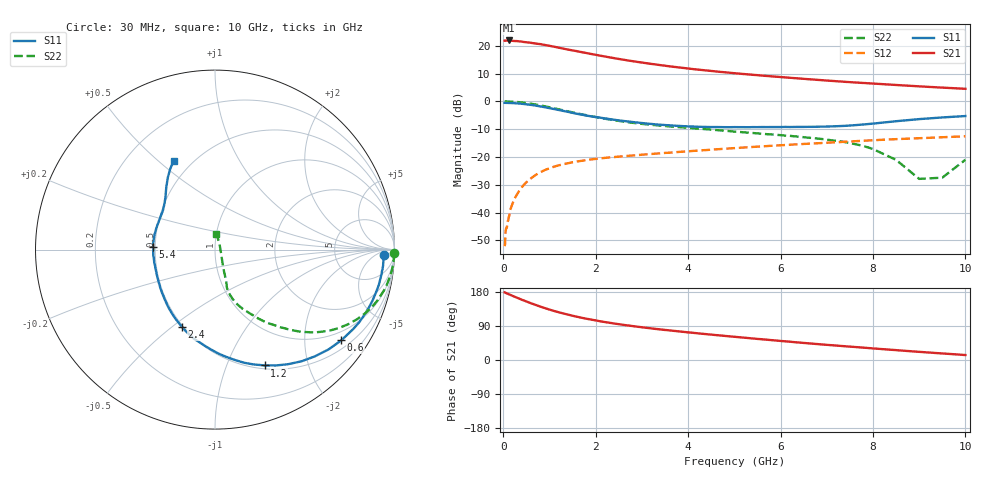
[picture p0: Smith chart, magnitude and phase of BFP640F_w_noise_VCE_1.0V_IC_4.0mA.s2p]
! Infineon Technologies  Discrete & RF Semiconductors
! BFP640F
! VCE =  1.0 V,  IC =  4.0 mA
! Common Emitter S-Parameters:  Apr 2013
# GHz  S  MA  R  50
!  f  S11  S21  S12  S22
! GHz  MAG  ANG  MAG  ANG  MAG  ANG  MAG  ANG
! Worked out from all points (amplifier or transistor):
!   99 points, 30 MHz to 10 GHz, reference 50 ohm
!   highest |S21| = 21.9 dB at 120 MHz (marker M1)
!   |S21| within 3 dB of that: start of sweep to 1.319 GHz
!   unconditionally stable (mu >= 1): 4.908 GHz to end of sweep
!   at 350 MHz: K = 0.08, MSG = 26.8 dB, |S12| = -32.0 dB
!   at 3.5 GHz: K = 0.86, MSG = 15.7 dB, |S12| = -18.5 dB
!   at 10 GHz: K = 1.12, MAG = 6.4 dB, |S12| = -12.5 dB
!   lowest NFmin = 0.49 dB at 450 MHz
!   S11 on the Smith chart (normalised r, x): 30 MHz: 26, -14; 600 MHz: 0.72, -2.94; 1.2 GHz: 0.54, -1.37; 2.4 GHz: 0.49, -0.54; 5.4 GHz: 0.49, +0.01; 10 GHz: 0.40, +0.56
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0.03  0.9427 -1.8  12.32 178.4  0.0025 90.0  0.9987 -1.2
0.04  0.9428 -2.4  12.25 177.9  0.0027 90.2  0.9979 -1.6
0.05  0.9439 -3.2  12.43 177.6  0.0045 67.7  0.9999 -2.0
0.12  0.9382 -7.3  12.47 173.6  0.0085 88.8  0.9958 -4.8
0.4  0.9068 -24.2  11.91 159.2  0.0285 78.5  0.9566 -15.7
0.6  0.8666 -35.7  11.31 149.8  0.0414 71.8  0.9095 -22.9
0.8  0.8141 -47.0  10.72 141.0  0.0532 66.3  0.8501 -29.3
0.9  0.7873 -52.2  10.35 137.0  0.0583 63.5  0.8173 -32.3
1.2  0.7019 -66.8  9.25 126.0  0.071 56.8  0.7212 -39.8
1.4  0.6503 -75.7  8.553 119.8  0.0774 53.2  0.6629 -43.7
1.7  0.578 -88.4  7.68 111.4  0.0857 49.2  0.5852 -48.5
2.1  0.5105 -103.3  6.639 102.2  0.0946 45.3  0.5042 -54.3
2.4  0.4677 -113.2  6 96.3  0.1 43.2  0.4597 -57.4
2.9  0.4173 -127.6  5.141 87.9  0.1083 40.8  0.4046 -61.4
3.4  0.3817 -140.5  4.496 80.7  0.1168 39.2  0.3669 -64.7
5.1  0.3447 -176.6  3.166 60.1  0.1465 34.7  0.2832 -70.8
5.4  0.3454 177.9  3.009 56.8  0.1519 33.9  0.2706 -71.4
6.7  0.3493 154.8  2.478 43.0  0.1753 29.5  0.2198 -72.5
8.5  0.4409 128.0  1.976 26.0  0.2098 22.7  0.0891 -61.5
9  0.4808 123.1  1.866 21.5  0.218 20.5  0.0405 -32.8
9.5  0.5153 118.9  1.771 17.3  0.2269 18.4  0.0426 54.7
10  0.5461 114.9  1.685 13.1  0.2363 16.1  0.0894 85.5
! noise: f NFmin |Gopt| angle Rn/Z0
0.45  0.49  0.47  8  0.17
0.9  0.54  0.47  21  0.17
1.5  0.58  0.47  31  0.17
1.9  0.61  0.44  44  0.17
2.4  0.67  0.4  59  0.17
3.5  0.76  0.3  79  0.18
5.5  1.02  0.24  148  0.19
10  1.8  0.46  -106  0.37
